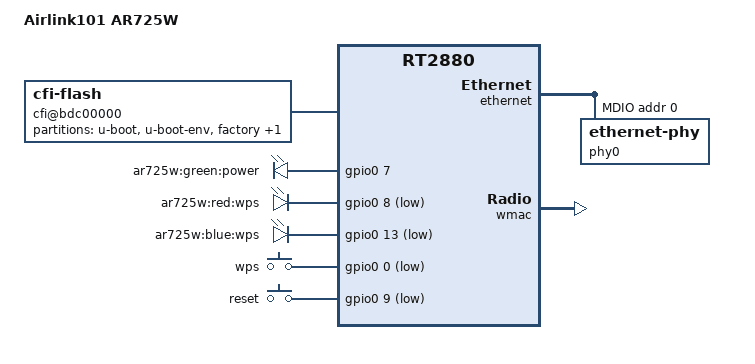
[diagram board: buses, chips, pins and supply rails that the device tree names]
/dts-v1/;

#include "rt2880.dtsi"

#include <dt-bindings/gpio/gpio.h>
#include <dt-bindings/input/input.h>

/ {
	compatible = "airlink101,ar725w", "ralink,rt2880-soc";
	model = "Airlink101 AR725W";

	aliases {
		led-boot = &led_power;
		led-failsafe = &led_power;
		led-running = &led_power;
		led-upgrade = &led_power;
	};

	cfi@bdc00000 {
		compatible = "cfi-flash";
		reg = <0xbc400000 0x800000>;
		bank-width = <2>;

		partitions {
			compatible = "fixed-partitions";
			#address-cells = <1>;
			#size-cells = <1>;

			partition@0 {
				reg = <0x0 0x30000>;
				label = "u-boot";
				read-only;
			};

			partition@30000 {
				reg = <0x30000 0x10000>;
				label = "u-boot-env";
			};

			factory: partition@40000 {
				reg = <0x40000 0x10000>;
				label = "factory";
				read-only;
			};

			partition@50000 {
				compatible = "denx,uimage";
				reg = <0x50000 0x3B0000>;
				label = "firmware";
			};
		};
	};

	gpio-leds {
		compatible = "gpio-leds";

		led_power: power {
			label = "ar725w:green:power";
			gpios = <&gpio0 7 GPIO_ACTIVE_HIGH>;
		};

		wpsred {
			label = "ar725w:red:wps";
			gpios = <&gpio0 8 GPIO_ACTIVE_LOW>;
		};

		wpsblue {
			label = "ar725w:blue:wps";
			gpios = <&gpio0 13 GPIO_ACTIVE_LOW>;
		};
	};

	gpio-keys-polled {
		compatible = "gpio-keys-polled";
		poll-interval = <100>;

		wps {
			label = "wps";
			gpios = <&gpio0 0 GPIO_ACTIVE_LOW>;
			linux,code = <KEY_WPS_BUTTON>;
		};

		reset {
			label = "reset";
			gpios = <&gpio0 9 GPIO_ACTIVE_LOW>;
			linux,code = <KEY_RESTART>;
		};
	};
};

&gpio0 {
	status = "okay";
};

&pinctrl {
	state_default: pinctrl0 {
		gpio {
			ralink,group = "i2c", "spi", "uartlite";
			ralink,function = "gpio";
		};
	};
};

&ethernet {
	status = "okay";
	mtd-mac-address = <&factory 0x4>;

	port@0 {
		phy-handle = <&phy0>;
		phy-mode = "mii";
	};

	mdio-bus {
		status = "okay";

		phy0: ethernet-phy@0 {
			phy-mode = "mii";
			reg = <0>;
		};
	};
};

&wmac {
	status = "okay";
	ralink,mtd-eeprom = <&factory 0>;
};
